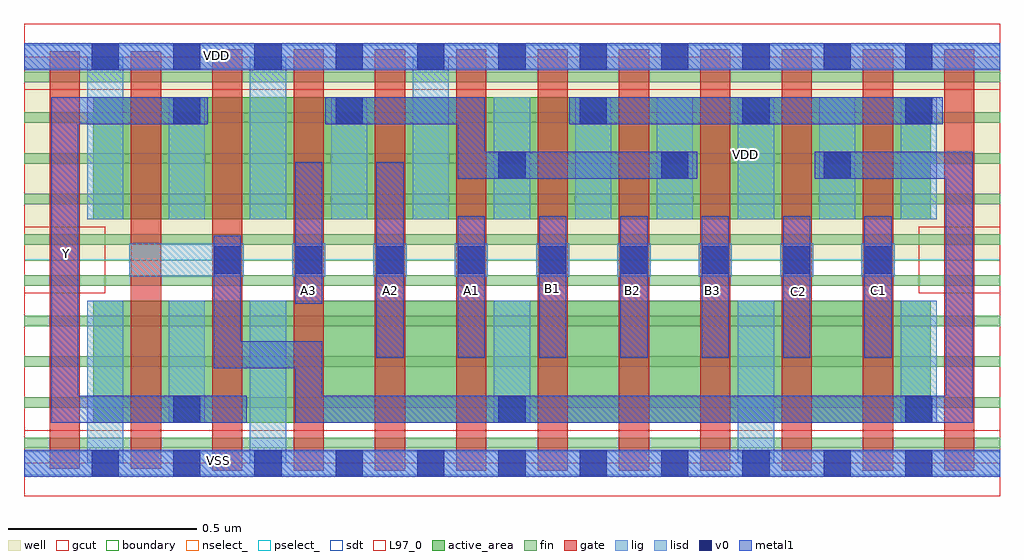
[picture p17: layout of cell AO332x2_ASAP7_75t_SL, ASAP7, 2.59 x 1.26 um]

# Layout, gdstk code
import gdstk
lib = gdstk.Library(unit=1e-6, precision=2.5e-10)
def R(c, l, rs):  # rectangles x0, y0, x1, y1
    for r in rs: c.add(gdstk.rectangle(r[:2], r[2:], *l))
def A(c, l, x, y, w, h, nx, ny, dx, dy):  # array of equal rectangles
    R(c, l, [(x+i*dx, y+j*dy, x+i*dx+w, y+j*dy+h) for i in range(nx) for j in range(ny)])
def P(c, l, *ps):  # polygons
    for p in ps: c.add(gdstk.Polygon(p, *l))
well = (1, 0)
fin = (2, 0)
gate = (7, 0)
gcut = (10, 0)
active_area = (11, 0)
nselect_ = (12, 0)
pselect_ = (13, 0)
lig = (16, 0)
lisd = (17, 0)
v0 = (18, 0)
metal1 = (19, 0)
sdt = (88, 0)
L97_0 = (97, 0)
boundary = (100, 0)

ao332x2_asap7_75t_sl = lib.new_cell('AO332x2_ASAP7_75t_SL')
R(ao332x2_asap7_75t_sl, well, [(0,0.54,2.592,1.08)])
A(ao332x2_asap7_75t_sl, fin, 0, 0.04, 2.592, 0.028, 1, 10, 0, 0.108)
A(ao332x2_asap7_75t_sl, gate, 0.5, -0.02, 0.08, 1.12, 10, 1, 0.216, 0)
R(ao332x2_asap7_75t_sl, gate, [(0.068,-0.014,0.148,1.094), (0.284,-0.014,0.364,1.094)])
R(ao332x2_asap7_75t_sl, gcut, [(0,-0.088,2.592,0.088), (0,0.452,0.216,0.628), (2.376,0.452,2.592,0.628), (0,0.992,2.592,1.168)])
R(ao332x2_asap7_75t_sl, active_area, [(0.184,0.108,2.408,0.432), (0.184,0.648,2.408,0.972)])
R(ao332x2_asap7_75t_sl, nselect_, [(0,0,2.592,0.54)])
R(ao332x2_asap7_75t_sl, pselect_, [(0,0.54,2.592,1.08)])
A(ao332x2_asap7_75t_sl, lig, 0.712, 0.496, 0.088, 0.088, 8, 1, 0.216, 0)
R(ao332x2_asap7_75t_sl, lig, [(0,-0.032,2.592,0.032), (0.28,0.496,0.584,0.584), (0,1.048,2.592,1.112)])
A(ao332x2_asap7_75t_sl, lisd, 0.384, 0.648, 0.096, 0.324, 3, 1, 0.432, 0)
A(ao332x2_asap7_75t_sl, lisd, 1.464, 0.648, 0.096, 0.324, 5, 1, 0.216, 0)
R(ao332x2_asap7_75t_sl, lisd, [(0.168,0,0.264,0.432), (0.6,0,0.696,0.432), (0.6,0,0.696,0.432), (1.896,0,1.992,0.432), (0.384,0.108,0.48,0.432), (1.248,0.108,1.344,0.432), (2.328,0.108,2.424,0.432), (0.168,0.648,0.264,1.08), (0.6,0.648,0.696,1.08), (0.6,0.648,0.696,1.08), (1.032,0.648,1.128,1.08)])
A(ao332x2_asap7_75t_sl, v0, 0.18, -0.036, 0.072, 0.072, 3, 2, 0.216, 1.08)
A(ao332x2_asap7_75t_sl, v0, 0.612, -0.036, 0.072, 0.072, 9, 2, 0.216, 1.08)
A(ao332x2_asap7_75t_sl, v0, 0.504, 0.504, 0.072, 0.072, 9, 1, 0.216, 0)
A(ao332x2_asap7_75t_sl, v0, 1.26, 0.756, 0.072, 0.072, 3, 1, 0.432, 0)
A(ao332x2_asap7_75t_sl, v0, 1.476, 0.9, 0.072, 0.072, 3, 1, 0.432, 0)
R(ao332x2_asap7_75t_sl, v0, [(0.396,0.108,0.468,0.18), (1.26,0.108,1.332,0.18), (2.34,0.108,2.412,0.18), (0.396,0.9,0.468,0.972), (0.828,0.9,0.9,0.972)])
A(ao332x2_asap7_75t_sl, metal1, 1.152, 0.28, 0.072, 0.376, 6, 1, 0.216, 0)
R(ao332x2_asap7_75t_sl, metal1, [(0,-0.036,2.592,0.036), (0.72,0.124,0.792,0.324), (0.504,0.252,0.576,0.604), (0.528,0.252,0.748,0.324), (0.936,0.28,1.008,0.8), (0.72,0.424,0.792,0.8), (1.152,0.756,1.224,0.972), (1.152,0.756,1.788,0.828), (0.8,0.9,1.204,0.972), (1.448,0.9,2.44,0.972), (0,1.044,2.592,1.116)])
P(ao332x2_asap7_75t_sl, metal1, [(0.488,0.972),(0.072,0.972),(0.072,0.108),(0.592,0.108),(0.592,0.18),(0.144,0.18),(0.144,0.9),(0.488,0.9)],
  [(2.52,0.828),(2.1,0.828),(2.1,0.756),(2.448,0.756),(2.448,0.18),(0.72,0.18),(0.72,0.108),(2.52,0.108)])
A(ao332x2_asap7_75t_sl, sdt, 0.168, 0.108, 0.096, 0.324, 3, 2, 0.216, 0.54)
A(ao332x2_asap7_75t_sl, sdt, 0.6, 0.108, 0.096, 0.324, 3, 1, 0.648, 0)
A(ao332x2_asap7_75t_sl, sdt, 0.6, 0.648, 0.096, 0.324, 9, 1, 0.216, 0)
R(ao332x2_asap7_75t_sl, sdt, [(2.328,0.108,2.424,0.432)])
R(ao332x2_asap7_75t_sl, L97_0, [(0,0,2.592,1.08)])
R(ao332x2_asap7_75t_sl, boundary, [(0,0,2.592,1.08)])
ao332x2_asap7_75t_sl.add(gdstk.Label('Y', (0.114,0.558), layer=19, texttype=251))
ao332x2_asap7_75t_sl.add(gdstk.Label('VDD', (0.512,1.084), layer=19, texttype=251))
ao332x2_asap7_75t_sl.add(gdstk.Label('VSS', (0.516,0.008), layer=19, texttype=251))
ao332x2_asap7_75t_sl.add(gdstk.Label('C1', (2.268,0.46), layer=19, texttype=251))
ao332x2_asap7_75t_sl.add(gdstk.Label('C2', (2.056,0.456), layer=19, texttype=251))
ao332x2_asap7_75t_sl.add(gdstk.Label('B3', (1.828,0.46), layer=19, texttype=251))
ao332x2_asap7_75t_sl.add(gdstk.Label('B2', (1.616,0.46), layer=19, texttype=251))
ao332x2_asap7_75t_sl.add(gdstk.Label('B1', (1.404,0.464), layer=19, texttype=251))
ao332x2_asap7_75t_sl.add(gdstk.Label('A1', (1.188,0.46), layer=19, texttype=251))
ao332x2_asap7_75t_sl.add(gdstk.Label('A2', (0.972,0.46), layer=19, texttype=251))
ao332x2_asap7_75t_sl.add(gdstk.Label('A3', (0.756,0.46), layer=19, texttype=251))
ao332x2_asap7_75t_sl.add(gdstk.Label('VDD', (1.916,0.82), layer=1, texttype=251))
ao332x2_asap7_75t_sl.add(gdstk.Label('VSS', (1.68,-0.184), layer=3, texttype=251))

lib.write_gds('AO332x2_ASAP7_75t_SL.gds')
